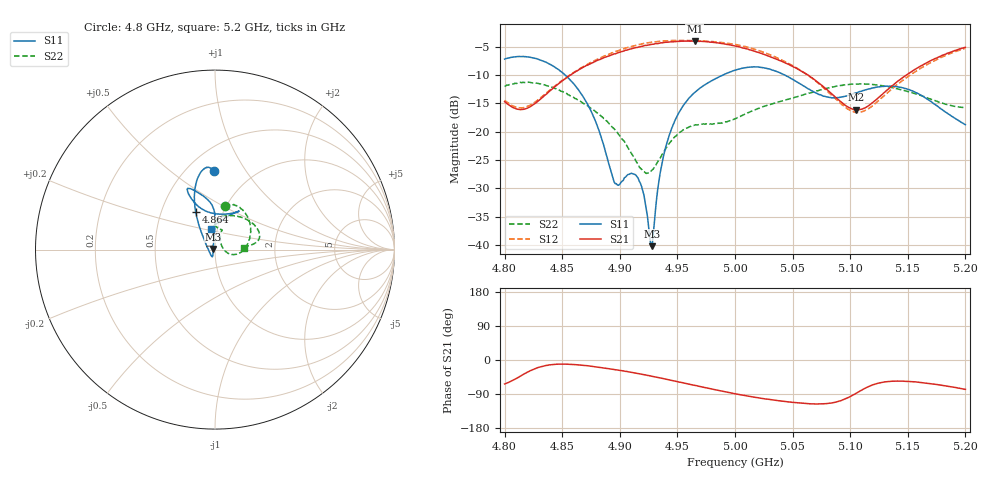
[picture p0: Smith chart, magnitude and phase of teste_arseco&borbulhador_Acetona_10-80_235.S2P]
! Network Analyzer HP8722D
! Hewlett-Packard
! Data name: Linha & Wilkinson
! Saver's name: Rodrigo Anjos
! Comments: Teste da utilização de aquisição
! continua pelo VNA HP8722D
! Time and date: 25/4/2025 17:13
!  Frequency  S11  S21  S12  S22
# HZ  S  MA R 50
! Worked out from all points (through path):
!   401 points, 4.8 GHz to 5.2 GHz, reference 50 ohm
!   highest |S21| = -4.01 dB at 4.965 GHz (marker M1); lowest = -16.1 dB at 5.105 GHz (marker M2)
!   lowest |S11| = -40.2 dB at 4.928 GHz (marker M3), VSWR 1.02, Z = 49.1 + j0.309 ohm
!   |S11| at or under -10 dB: 4.852 GHz to 4.99 GHz (137.1 MHz wide, 2.79 % of centre); 5.043 GHz to end of sweep
!   |S22| runs from -27.4 to -11.3 dB; largest |S21 - S12| = 1.2
!   S11 on the Smith chart (normalised r, x): 4.8 GHz: 0.67, +0.72; 4.864 GHz: 0.74, +0.33; 5.2 GHz: 0.93, +0.21
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4.8e9  0.4361 90.9  0.1841 -63.3  0.1893 70.2  0.25 77.0
4.82e9  0.4556 97.2  0.1615 -31.7  0.1675 99.0  0.2725 61.7
4.845e9  0.3626 107.7  0.2553 -11.2  0.2594 119.5  0.2392 34.1
4.864e9  0.2347 117.1  0.3497 -12.9  0.3531 121.0  0.1892 11.8
4.867e9  0.212 118.9  0.3636 -13.8  0.3679 120.6  0.1815 8.6
4.88e9  0.1154 129.4  0.4239 -18.4  0.4335 118.1  0.1475 -5.1
4.896e9  0.03479 -171.1  0.4855 -25.4  0.5071 113.1  0.1035 -15.4
4.91e9  0.04296 -111.2  0.5374 -32.5  0.5636 107.0  0.06451 -12.1
4.917e9  0.03643 -108.9  0.5591 -36.6  0.5883 103.4  0.04864 0.9
4.921e9  0.02743 -115.0  0.5726 -38.7  0.5997 101.2  0.04447 14.2
4.926e9  0.01183 -149.9  0.5848 -41.8  0.6108 98.2  0.04338 34.2
4.928e9  0.009779 161.2  0.5899 -43.0  0.6159 96.9  0.04592 41.5
4.934e9  0.03696 102.6  0.6018 -46.8  0.6268 93.1  0.05678 57.9
4.946e9  0.113 90.8  0.6198 -54.5  0.6375 85.5  0.08566 69.2
4.965e9  0.2216 91.5  0.6304 -67.0  0.6354 73.4  0.1145 70.6
5e9  0.3491 109.2  0.57 -89.1  0.5884 50.6  0.13 87.9
5.03e9  0.3568 115.2  0.4603 -104.2  0.4788 33.8  0.1729 85.1
5.067e9  0.2289 105.7  0.298 -115.8  0.2956 23.7  0.2219 56.9
5.105e9  0.2198 66.2  0.1559 -88.1  0.1482 55.1  0.263 25.3
5.134e9  0.2518 58.2  0.2419 -56.6  0.2276 88.9  0.248 12.2
5.169e9  0.1876 71.2  0.4181 -62.0  0.402 84.8  0.1949 6.9
5.2e9  0.1152 101.3  0.5543 -77.7  0.544 70.0  0.1628 3.5
